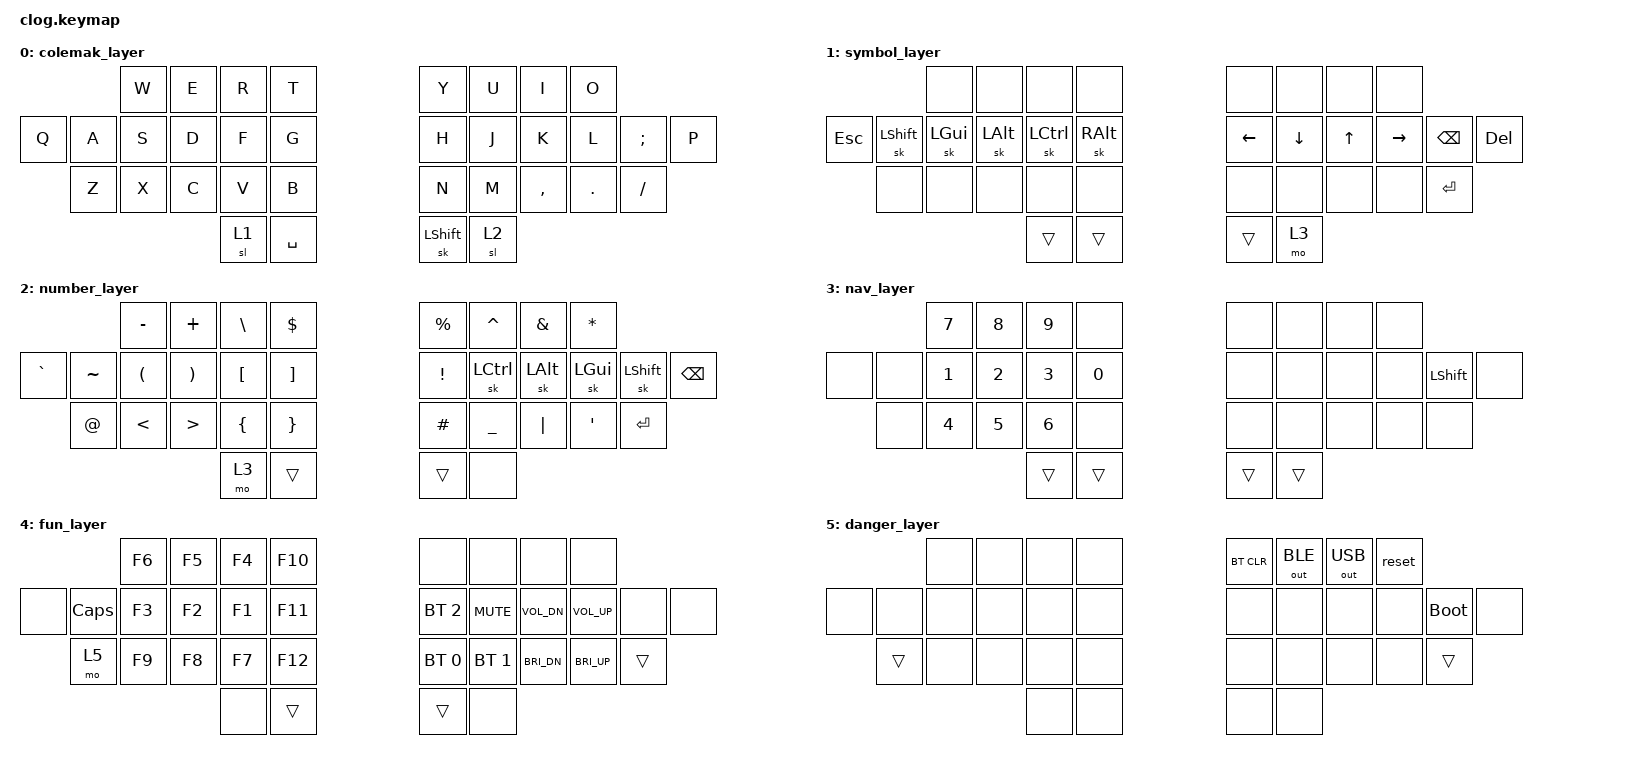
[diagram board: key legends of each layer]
/*
 * Copyright (c) 2021 The ZMK Contributors
 *
 * SPDX-License-Identifier: MIT
 */

#include <behaviors.dtsi>
#include <dt-bindings/zmk/keys.h>
#include <dt-bindings/zmk/bt.h>
#include <dt-bindings/zmk/outputs.h>

#define CMK 0
#define SYM 1
#define NUM 2
#define NAV 3
#define FUN 4
#define DAN 5
#define LCK 6

&caps_word {
    continue-list = <UNDERSCORE MINUS BACKSPACE>;
};

/ {
    behaviors {
        skq: sticky_key_quick_release {
            compatible = "zmk,behavior-sticky-key";
            label = "STICKY_KEY_QUICK_RELEASE";
            #binding-cells = <1>;
            bindings = <&kp>;
            release-after-ms = <1000>;
            quick-release;
        };
    };
};

/*           34 Keys
╭──────────────╮ ╭──────────────╮
│ 0  1  2  3  4│ │ 5  6  7  8  9│
│10 11 12 13 14│ │15 16 17 18 19│
│20 21 22 23 24│ │25 26 27 28 29│
╰────────╮30 31│ │32 33╭────────╯
         ╰─────╯ ╰─────╯         */

/ {
    combos {
        compatible = "zmk,combos";

        caps_word {
            bindings = <&caps_word>;
            key-positions = <13 14>;
        };

        ukr_h {
            bindings = <&kp LEFT_BRACKET>;
            key-positions = <6 16>;
        };

        ukr_yi {
            bindings = <&kp RIGHT_BRACKET>;
            key-positions = <7 17>;
        };

        ukr_back {
            bindings = <&kp BACKSLASH>;
            key-positions = <17 28>;
        };

        ukr_grave {
            bindings = <&kp GRAVE>;
            key-positions = <0 10>;
        };

        ukr_ye {
            bindings = <&kp SINGLE_QUOTE>;
            key-positions = <15 5>;
        };

        bspc {
            bindings = <&kp BACKSPACE>;
            key-positions = <27 28>;
        };

        enter {
            bindings = <&kp ENTER>;
            key-positions = <26 27>;
        };

        ukr_g {
            bindings = <&kp NON_US_BSLH>;
            key-positions = <13 24>;
        };
    };

    keymap {
        compatible = "zmk,keymap";

        colemak_layer {
            // -----------------------------------------------------------------
            // |     |     |  W  |  F  |  P  |  B  | |  J  |  L  |  U  |  Y  |     |     |
            // |  Q  |  A  |  R  |  S  |  T  |  G  | |  M  |  N  |  E  |  I  |  O  |     |
            // |     |  Z  |  X  |  C  |  D  |  V  | |  K  |  H  |  ,  |  .  |-FUN-|     |
            //                         |-SYM-| SPC | | RET |-NUM-|

            bindings = <
                  &kp W   &kp E   &kp R      &kp T                   &kp Y   &kp U      &kp I    &kp O
  &kp Q   &kp A   &kp S   &kp D   &kp F      &kp G                   &kp H   &kp J      &kp K    &kp L  &kp SEMICOLON   &kp P
          &kp Z   &kp X   &kp C   &kp V      &kp B                   &kp N   &kp M  &kp COMMA  &kp DOT      &kp SLASH
                                  &sl 1  &kp SPACE          &sk LEFT_SHIFT   &sl 2
            >;
        };

        symbol_layer {
            // -----------------------------------------------------------------
            // |     |     |  \  |  %  |  $  |     | |     |  ^  |  {  |  }  |     |     |
            // |     |  *  |  (  |  )  |  :  |     | |     |  "  |  [  |  ]  |  ;  |     |
            // |     |     |  `  |  @  |  &  |     | |     |  #  |  <  |  >  |-FUN-|     |
            //                         |_SYM_| SPC | | RET | ESC |

            bindings = <
                                    &none         &none             &none          &none                   &none     &none   &none      &none
 &kp ESCAPE  &sk LEFT_SHIFT  &sk LEFT_GUI  &sk LEFT_ALT  &sk LEFT_CONTROL  &sk RIGHT_ALT          &kp LEFT_ARROW  &kp DOWN  &kp UP  &kp RIGHT  &kp BACKSPACE  &kp DELETE
                      &none         &none         &none             &none          &none                   &none     &none   &none      &none      &kp ENTER
                                                                   &trans         &trans                  &trans     &mo 3
            >;
        };

        number_layer {
            // -----------------------------------------------------------------
            // |     |     |  4  |  5  |  6  |     | |     |  |  |  -  |  /  |     |     |
            // |     |  .  |  1  |  2  |  3  |     | |     |  '  |  _  |  =  |-NAV-|     |
            // |     |  ~  |  7  |  8  |  9  |     | |     |  +  |  ?  |  !  |     |     |
            //                         |  0  | SPC | | RET |_NUM_|

            bindings = <
                                    &kp MINUS               &kp PLUS     &kp BACKSLASH         &kp DOLLAR          &kp PERCENT         &kp CARET  &kp AMPERSAND      &kp ASTERISK
 &kp GRAVE    &kp TILDE  &kp LEFT_PARENTHESIS  &kp RIGHT_PARENTHESIS  &kp LEFT_BRACKET  &kp RIGHT_BRACKET             &kp EXCL  &sk LEFT_CONTROL   &sk LEFT_ALT      &sk LEFT_GUI  &sk LEFT_SHIFT  &kp BACKSPACE
            &kp AT_SIGN         &kp LESS_THAN       &kp GREATER_THAN    &kp LEFT_BRACE    &kp RIGHT_BRACE            &kp POUND    &kp UNDERSCORE       &kp PIPE  &kp SINGLE_QUOTE       &kp ENTER
                                                                                 &mo 3             &trans               &trans             &none
            >;
        };

        nav_layer {
            // -----------------------------------------------------------------
            // |     |     |     |     |     |     | |     |     |     |     |     |     |
            // |     |     |     |     |     |     | | LFT | DWN | U P |RIGHT|_NAV_|     |
            // |     |     |     |     |     |     | | HOM |PG_DN|PG_UP| END |     |     |
            //                         |     | SPC | | RET |_NUM_|

            bindings = <
                 &kp NUMBER_7  &kp NUMBER_8  &kp NUMBER_9         &none           &none   &none   &none   &none
  &none   &none  &kp NUMBER_1  &kp NUMBER_2  &kp NUMBER_3  &kp NUMBER_0           &none   &none   &none   &none  &kp LEFT_SHIFT   &none
          &none  &kp NUMBER_4  &kp NUMBER_5  &kp NUMBER_6         &none           &none   &none   &none   &none           &none
                                                   &trans        &trans          &trans  &trans
            >;
        };

        fun_layer {
            // -----------------------------------------------------------------
            // |     |     | F 6 | F 5 | F 4 | F10 | | <!> | <!> | <!> | <!> |     |     |
            // |     |CAPSL| F 3 | F 2 | F 1 | F11 | | BT2 |VMUTE|VOLDN|VOLUP| <!> |     |
            // |     |-!!!-| F 9 | F 8 | F 7 | F12 | | BT0 | BT1 |BRIDN|BRIUP|_FUN_|     |
            //                   |     | SPC | | RET |     |

            bindings = <
                   &kp F6  &kp F5  &kp F4  &kp F10                 &none         &none         &none         &none
  &none  &kp CAPS  &kp F3  &kp F2  &kp F1  &kp F11          &bt BT_SEL 2    &kp K_MUTE  &kp C_VOL_DN  &kp C_VOL_UP   &none   &none
            &mo 5  &kp F9  &kp F8  &kp F7  &kp F12          &bt BT_SEL 0  &bt BT_SEL 1  &kp C_BRI_DN  &kp C_BRI_UP  &trans
                                    &none   &trans                &trans         &none
            >;
        };

        danger_layer {
            // -----------------------------------------------------------------
            // |     |     |     |     |     |     | |BTCLR| BLE | USB |RESET|     |     |
            // |     |     |     |     |     |     | |     |     |     |     |BOOTL|     |
            // |     |_!!!_|     |     |     |     | |     |     |     |     |_FUN_|     |
            //                   |     |     | |     |     |
            // impactful buttons
            // Bluetooth clear, reset, chaning BLE/USB preference, bootloader

            bindings = <
                  &none   &none   &none   &none          &bt BT_CLR  &out OUT_BLE  &out OUT_USB  &reset
  &none   &none   &none   &none   &none   &none               &none         &none         &none   &none  &bootloader   &none
         &trans   &none   &none   &none   &none               &none         &none         &none   &none       &trans
                                  &none   &none               &none         &none
            >;
        };
    };
};
